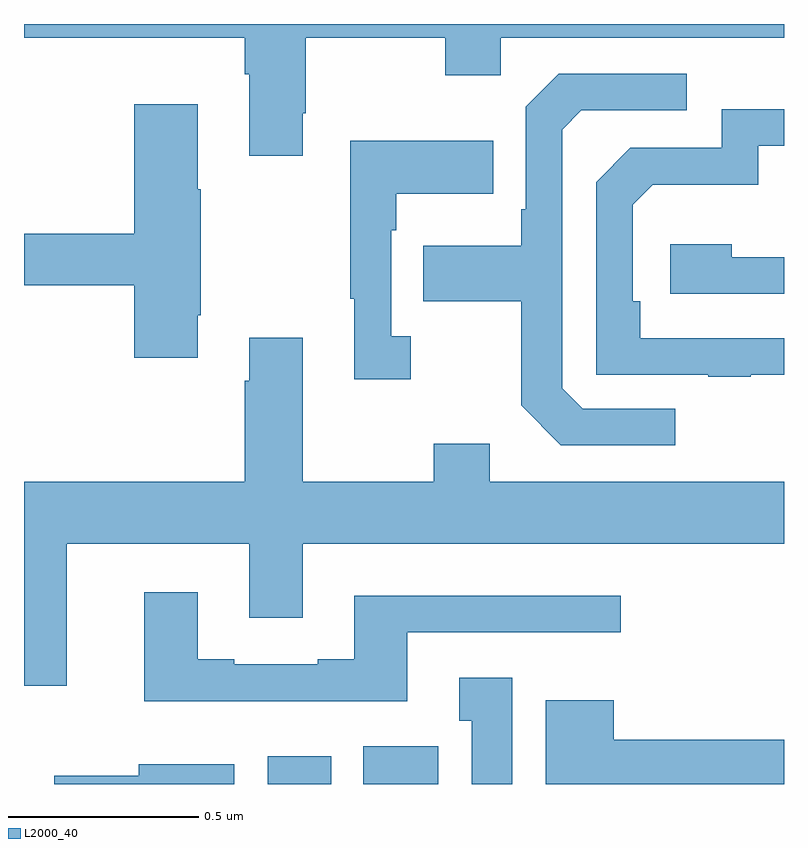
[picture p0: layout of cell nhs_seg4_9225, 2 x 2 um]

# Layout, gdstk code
import gdstk
lib = gdstk.Library(unit=1e-6, precision=1e-09)
def R(c, l, rs):  # rectangles x0, y0, x1, y1
    for r in rs: c.add(gdstk.rectangle(r[:2], r[2:], *l))
def P(c, l, *ps):  # polygons
    for p in ps: c.add(gdstk.Polygon(p, *l))
L2000_40 = (2000, 40)

nhs_seg4_9225 = lib.new_cell('nhs_seg4_9225')
R(nhs_seg4_9225, L2000_40, [(225.641,750.9,225.808,750.973), (225.893,750.9,226.09,751)])
P(nhs_seg4_9225, L2000_40, [(225.733,752.665),(225.741,752.665),(225.741,752.864),(226.108,752.864),(226.108,752.765),(226.254,752.765),(226.254,752.864),(227,752.864),(227,752.9),(225,752.9),(225,752.864),(225.581,752.864),(225.581,752.768),(225.593,752.768),(225.593,752.553),(225.733,752.553)],
  [(226.714,751.887),(226.47,751.887),(226.416,751.941),(226.416,752.622),(226.467,752.673),(226.744,752.673),(226.744,752.769),(226.407,752.769),(226.32,752.682),(226.32,752.413),(226.308,752.413),(226.308,752.317),(226.051,752.317),(226.051,752.17),(226.308,752.17),(226.308,751.897),(226.413,751.791),(226.714,751.791)],
  [(225.457,752.134),(225.465,752.134),(225.465,752.465),(225.457,752.465),(225.457,752.689),(225.29,752.689),(225.29,752.348),(225,752.348),(225,752.212),(225.29,752.212),(225.29,752.022),(225.457,752.022)],
  [(226.913,751.977),(227,751.977),(227,752.073),(226.622,752.073),(226.622,752.17),(226.602,752.17),(226.602,752.424),(226.655,752.477),(226.932,752.477),(226.932,752.58),(227,752.58),(227,752.676),(226.836,752.676),(226.836,752.574),(226.596,752.574),(226.506,752.484),(226.506,751.977),(226.801,751.977),(226.801,751.972),(226.913,751.972)],
  [(226.018,752.078),(225.966,752.078),(225.966,752.357),(225.979,752.357),(225.979,752.453),(226.235,752.453),(226.235,752.593),(225.858,752.593),(225.858,752.177),(225.869,752.177),(225.869,751.965),(226.018,751.965)],
  [(227,752.286),(226.862,752.286),(226.862,752.32),(226.701,752.32),(226.701,752.19),(227,752.19)],
  [(225.112,751.532),(225.593,751.532),(225.593,751.338),(225.733,751.338),(225.733,751.532),(227,751.532),(227,751.696),(226.225,751.696),(226.225,751.795),(226.078,751.795),(226.078,751.696),(225.733,751.696),(225.733,752.074),(225.593,752.074),(225.593,751.961),(225.581,751.961),(225.581,751.696),(225,751.696),(225,751.158),(225.112,751.158)],
  [(226.009,751.299),(226.57,751.299),(226.57,751.396),(225.869,751.396),(225.869,751.228),(225.773,751.228),(225.773,751.215),(225.553,751.215),(225.553,751.228),(225.457,751.228),(225.457,751.405),(225.317,751.405),(225.317,751.118),(226.009,751.118)],
  [(226.285,751.18),(226.145,751.18),(226.145,751.067),(226.178,751.067),(226.178,750.9),(226.285,750.9)],
  [(227,751.016),(226.552,751.016),(226.552,751.12),(226.373,751.12),(226.373,750.9),(227,750.9)],
  [(225.553,750.952),(225.302,750.952),(225.302,750.922),(225.08,750.922),(225.08,750.9),(225.553,750.9)])

lib.write_gds('nhs_seg4_9225.gds')
